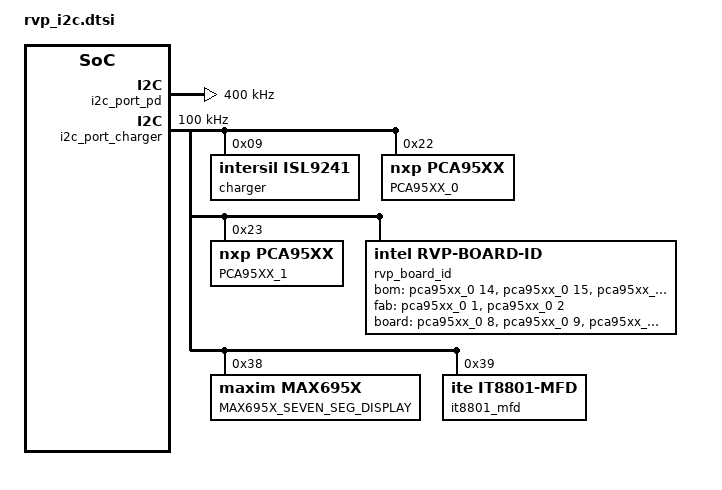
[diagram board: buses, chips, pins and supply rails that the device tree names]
/* Copyright 2026 The ChromiumOS Authors
 * Use of this source code is governed by a BSD-style license that can be
 * found in the LICENSE file.
 */

/ {
	named-i2c-ports {
		compatible = "named-i2c-ports";

		i2c_named_i2c_port_pd: named_i2c_port_pd_aic {
			i2c-port = <&i2c_port_pd>;
			enum-names = "I2C_PORT_PD";
		};
		i2c_named_i2c_port_charger: named_i2c_port_charger {
			i2c-port = <&i2c_port_charger>;
			enum-names = "I2C_PORT_BATTERY",
				"I2C_PORT_CHARGER",
				"I2C_PORT_PORT80";
		};
	};
};

&i2c_port_pd {
	label = "I2C_PORT_PD";
	clock-frequency = <I2C_BITRATE_FAST>;
};

&i2c_port_charger {
	label = "I2C_PORT_CHARGER";
	clock-frequency = <I2C_BITRATE_STANDARD>;

	charger: raa489@9 {
		compatible = "intersil,isl9241";
		status = "okay";
		reg = <0x9>;
	};
	pca95xx_0: pca95xx@22 {
		compatible = "nxp,pca95xx";
		label = "PCA95XX_0";
		reg = <0x22>;
		gpio-controller;
		#gpio-cells = <2>;
		ngpios = <16>;
		zephyr,deferred-init;
	};
	pca95xx_1: pca95xx@23 {
		compatible = "nxp,pca95xx";
		label = "PCA95XX_1";
		reg = <0x23>;
		gpio-controller;
		#gpio-cells = <2>;
		ngpios = <16>;
	};
	rvp_board_id: rvp-board-id {
		compatible = "intel,rvp-board-id";
		defer-until-s5 = <&pca95xx_0>;
		handler = "rvp_id_handler";
		bom-gpios = <&pca95xx_0 14 0>, <&pca95xx_0 15 0>,
			    <&pca95xx_0 0 0>;

		fab-gpios = <&pca95xx_0 1 0>, <&pca95xx_0 2 0>;

		board-gpios = <&pca95xx_0 8 0>, <&pca95xx_0 9 0>,
			      <&pca95xx_0 10 0>, <&pca95xx_0 11 0>,
			      <&pca95xx_0 12 0>, <&pca95xx_0 13 0>;
		zephyr,deferred-init;
	};
	seven_seg_display: max695x-seven-seg-display@38 {
		compatible = "maxim,max695x";
		reg = <0x38>;
		label = "MAX695X_SEVEN_SEG_DISPLAY";
	};
	/* This is the IOEX IC present on GCS AIC */
	it8801_mfd: it8801@39 {
		compatible = "ite,it8801-mfd";
		reg = <0x39>;
	};
};
